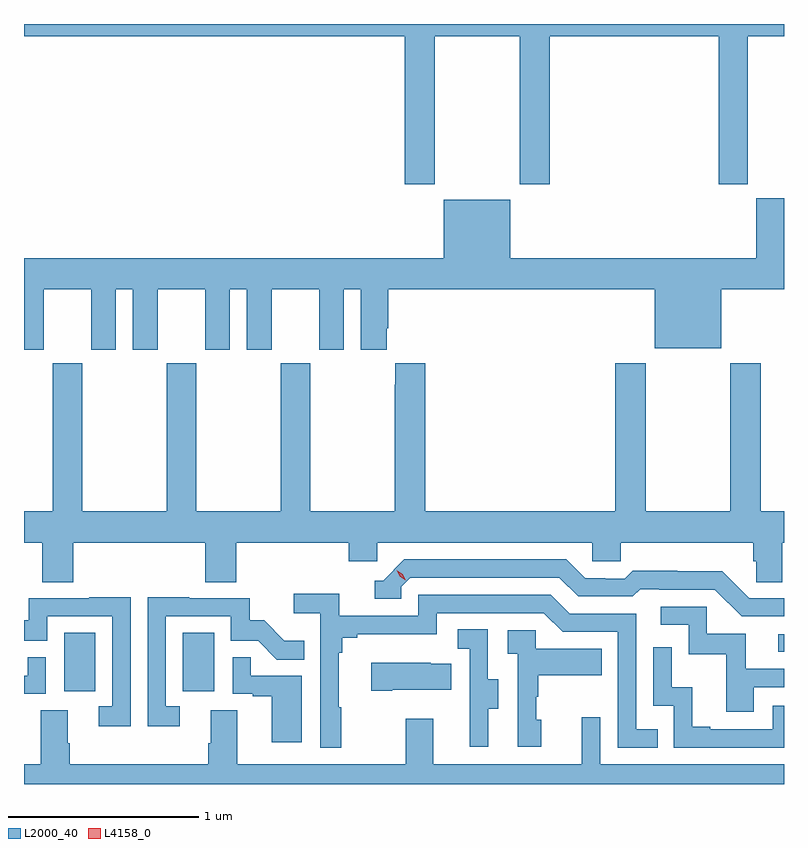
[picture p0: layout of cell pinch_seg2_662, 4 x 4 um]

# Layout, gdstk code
import gdstk
lib = gdstk.Library(unit=1e-6, precision=1e-09)
def R(c, l, rs):  # rectangles x0, y0, x1, y1
    for r in rs: c.add(gdstk.rectangle(r[:2], r[2:], *l))
def P(c, l, *ps):  # polygons
    for p in ps: c.add(gdstk.Polygon(p, *l))
L2000_40 = (2000, 40)
L4158_0 = (4158, 0)

pinch_seg2_662 = lib.new_cell('pinch_seg2_662')
R(pinch_seg2_662, L2000_40, [(1023.836,593.574,1024,593.881), (1024.46,593.574,1024.624,593.881), (1027.593,593.781,1027.624,593.874)])
P(pinch_seg2_662, L2000_40, [(1025.787,597.02),(1026.232,597.02),(1026.232,596.241),(1026.392,596.241),(1026.392,597.02),(1027.28,597.02),(1027.28,596.241),(1027.432,596.241),(1027.432,597.02),(1027.624,597.02),(1027.624,597.085),(1023.624,597.085),(1023.624,597.02),(1025.627,597.02),(1025.627,596.241),(1025.787,596.241)],
  [(1023.727,595.688),(1023.977,595.688),(1023.977,595.371),(1024.108,595.371),(1024.108,595.688),(1024.196,595.688),(1024.196,595.371),(1024.327,595.371),(1024.327,595.688),(1024.577,595.688),(1024.577,595.371),(1024.708,595.371),(1024.708,595.688),(1024.796,595.688),(1024.796,595.371),(1024.927,595.371),(1024.927,595.688),(1025.177,595.688),(1025.177,595.371),(1025.308,595.371),(1025.308,595.688),(1025.396,595.688),(1025.396,595.371),(1025.533,595.371),(1025.533,595.483),(1025.54,595.483),(1025.54,595.688),(1026.944,595.688),(1026.944,595.379),(1027.294,595.379),(1027.294,595.688),(1027.624,595.688),(1027.624,596.169),(1027.478,596.169),(1027.478,595.852),(1026.184,595.852),(1026.184,596.161),(1025.834,596.161),(1025.834,595.852),(1023.624,595.852),(1023.624,595.371),(1023.727,595.371)],
  [(1025.13,595.3),(1024.975,595.3),(1024.975,594.52),(1024.53,594.52),(1024.53,595.3),(1024.375,595.3),(1024.375,594.52),(1023.93,594.52),(1023.93,595.3),(1023.775,595.3),(1023.775,594.52),(1023.624,594.52),(1023.624,594.356),(1023.719,594.356),(1023.719,594.148),(1023.884,594.148),(1023.884,594.356),(1024.577,594.356),(1024.577,594.148),(1024.742,594.148),(1024.742,594.356),(1025.333,594.356),(1025.333,594.258),(1025.484,594.258),(1025.484,594.356),(1026.615,594.356),(1026.615,594.258),(1026.765,594.258),(1026.765,594.356),(1027.463,594.356),(1027.463,594.258),(1027.477,594.258),(1027.477,594.148),(1027.614,594.148),(1027.614,594.356),(1027.624,594.356),(1027.624,594.52),(1027.502,594.52),(1027.502,595.3),(1027.342,595.3),(1027.342,594.52),(1026.897,594.52),(1026.897,595.3),(1026.737,595.3),(1026.737,594.52),(1025.735,594.52),(1025.735,595.3),(1025.579,595.3),(1025.579,595.187),(1025.575,595.187),(1025.575,594.52),(1025.13,594.52)],
  [(1027.624,594.063),(1027.44,594.063),(1027.298,594.205),(1027.062,594.205),(1027.062,594.208),(1026.829,594.208),(1026.787,594.165),(1026.684,594.165),(1026.684,594.168),(1026.577,594.168),(1026.478,594.267),(1025.625,594.267),(1025.514,594.156),(1025.471,594.156),(1025.471,594.06),(1025.61,594.06),(1025.61,594.123),(1025.658,594.171),(1026.441,594.171),(1026.54,594.072),(1026.829,594.072),(1026.868,594.111),(1026.967,594.111),(1026.967,594.108),(1027.26,594.108),(1027.401,593.967),(1027.624,593.967)],
  [(1025.293,593.489),(1025.281,593.489),(1025.281,593.777),(1025.3,593.777),(1025.3,593.854),(1025.377,593.854),(1025.377,593.873),(1025.796,593.873),(1025.796,593.985),(1026.36,593.985),(1026.459,593.886),(1026.75,593.886),(1026.75,593.277),(1026.959,593.277),(1026.959,593.373),(1026.846,593.373),(1026.846,593.982),(1026.496,593.982),(1026.397,594.081),(1025.7,594.081),(1025.7,593.97),(1025.282,593.97),(1025.282,594.086),(1025.043,594.086),(1025.043,593.984),(1025.184,593.984),(1025.184,593.277),(1025.293,593.277)],
  [(1024.444,593.493),(1024.371,593.493),(1024.371,593.967),(1024.713,593.967),(1024.713,593.838),(1024.857,593.838),(1024.955,593.74),(1025.099,593.74),(1025.099,593.839),(1024.995,593.839),(1024.888,593.946),(1024.812,593.946),(1024.812,594.063),(1024.493,594.063),(1024.493,594.068),(1024.275,594.068),(1024.275,593.388),(1024.444,593.388)],
  [(1024.185,594.068),(1023.967,594.068),(1023.967,594.063),(1023.649,594.063),(1023.649,593.946),(1023.624,593.946),(1023.624,593.838),(1023.747,593.838),(1023.747,593.967),(1024.089,593.967),(1024.089,593.493),(1024.017,593.493),(1024.017,593.388),(1024.185,593.388)],
  [(1027.465,593.595),(1027.624,593.595),(1027.624,593.691),(1027.423,593.691),(1027.423,593.877),(1027.218,593.877),(1027.218,594.018),(1026.975,594.018),(1026.975,593.922),(1027.122,593.922),(1027.122,593.769),(1027.321,593.769),(1027.321,593.466),(1027.465,593.466)],
  [(1026.067,593.482),(1026.121,593.482),(1026.121,593.637),(1026.066,593.637),(1026.066,593.9),(1025.907,593.9),(1025.907,593.797),(1025.97,593.797),(1025.97,593.493),(1025.969,593.493),(1025.969,593.28),(1026.067,593.28)],
  [(1026.346,593.424),(1026.321,593.424),(1026.321,593.543),(1026.331,593.543),(1026.331,593.657),(1026.665,593.657),(1026.665,593.797),(1026.318,593.797),(1026.318,593.895),(1026.171,593.895),(1026.171,593.771),(1026.222,593.771),(1026.222,593.28),(1026.346,593.28)],
  [(1027.624,593.496),(1027.566,593.496),(1027.566,593.373),(1027.237,593.373),(1027.237,593.386),(1027.142,593.386),(1027.142,593.594),(1027.032,593.594),(1027.032,593.806),(1026.936,593.806),(1026.936,593.496),(1027.044,593.496),(1027.044,593.277),(1027.624,593.277)],
  [(1025.086,593.655),(1024.817,593.655),(1024.817,593.753),(1024.722,593.753),(1024.722,593.559),(1024.829,593.559),(1024.829,593.547),(1024.928,593.547),(1024.928,593.304),(1025.086,593.304)],
  [(1023.738,593.753),(1023.643,593.753),(1023.643,593.655),(1023.624,593.655),(1023.624,593.559),(1023.738,593.559)],
  [(1025.563,593.582),(1025.873,593.582),(1025.873,593.719),(1025.765,593.719),(1025.765,593.722),(1025.451,593.722),(1025.451,593.575),(1025.563,593.575)],
  [(1027.624,593.188),(1026.657,593.188),(1026.657,593.437),(1026.56,593.437),(1026.56,593.188),(1025.779,593.188),(1025.779,593.428),(1025.632,593.428),(1025.632,593.188),(1024.747,593.188),(1024.747,593.474),(1024.607,593.474),(1024.607,593.3),(1024.595,593.3),(1024.595,593.188),(1023.866,593.188),(1023.866,593.3),(1023.853,593.3),(1023.853,593.474),(1023.713,593.474),(1023.713,593.188),(1023.624,593.188),(1023.624,593.085),(1027.624,593.085)])
P(pinch_seg2_662, L4158_0, [(1025.634,594.157),(1025.603,594.176),(1025.587,594.209),(1025.587,594.209),(1025.587,594.209),(1025.618,594.19),(1025.634,594.158),(1025.634,594.157)])

lib.write_gds('pinch_seg2_662.gds')
